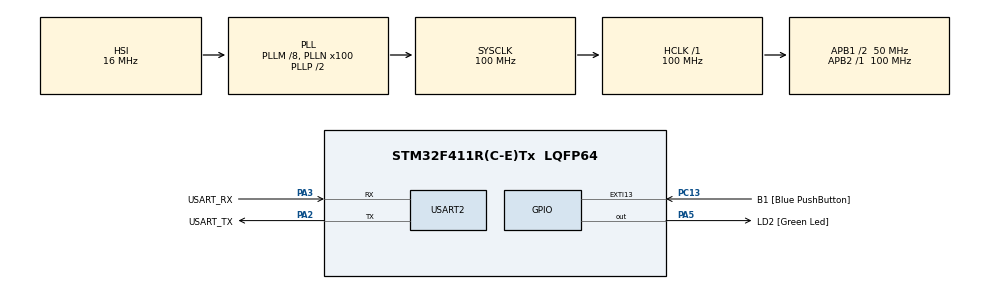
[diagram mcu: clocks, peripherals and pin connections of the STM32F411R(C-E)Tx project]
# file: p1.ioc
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Mcu.Family=STM32F4
Mcu.Name=STM32F411R(C-E)Tx
Mcu.Package=LQFP64
NVIC.EXTI15_10_IRQn=true\:0\:0\:false\:false\:true\:true\:true\:true
NVIC.PriorityGroup=NVIC_PRIORITYGROUP_0
PA13.GPIO_Label=TMS
PA13.Mode=Serial_Wire
PA13.Signal=SYS_JTMS-SWDIO
PA14.GPIO_Label=TCK
PA14.Mode=Serial_Wire
PA14.Signal=SYS_JTCK-SWCLK
PA2.GPIO_Label=USART_TX
PA2.Mode=Asynchronous
PA2.Signal=USART2_TX
PA3.GPIO_Label=USART_RX
PA3.Mode=Asynchronous
PA3.Signal=USART2_RX
PA5.GPIO_Label=LD2 [Green Led]
PA5.Signal=GPIO_Output
PB3.GPIO_Label=SWO
PB3.Signal=SYS_JTDO-SWO
PC13-ANTI_TAMP.GPIO_Label=B1 [Blue PushButton]
PC13-ANTI_TAMP.GPIO_ModeDefaultEXTI=GPIO_MODE_IT_FALLING
PC13-ANTI_TAMP.GPIO_PuPd=GPIO_PULLUP
PC13-ANTI_TAMP.Signal=GPXTI13
PC14-OSC32_IN.Mode=LSE-External-Oscillator
PC14-OSC32_IN.Signal=RCC_OSC32_IN
PC15-OSC32_OUT.Mode=LSE-External-Oscillator
PC15-OSC32_OUT.Signal=RCC_OSC32_OUT
PH0\ -\ OSC_IN.Mode=HSE-External-Clock-Source
PH0\ -\ OSC_IN.Signal=RCC_OSC_IN
PH1\ -\ OSC_OUT.Mode=HSE-External-Clock-Source
PH1\ -\ OSC_OUT.Signal=RCC_OSC_OUT
ProjectManager.HeapSize=0x200
ProjectManager.StackSize=0x400
ProjectManager.TargetToolchain=STM32CubeIDE
RCC.48MHZClocksFreq_Value=50000000
RCC.AHBFreq_Value=100000000
RCC.APB1CLKDivider=RCC_HCLK_DIV2
RCC.APB1Freq_Value=50000000
RCC.APB1TimFreq_Value=100000000
RCC.APB2Freq_Value=100000000
RCC.APB2TimFreq_Value=100000000
RCC.CortexFreq_Value=100000000
RCC.FLatency-AdvancedSettings=FLASH_LATENCY_3
RCC.HCLKFreq_Value=100000000
RCC.HSE_VALUE=8000000
RCC.HSI_VALUE=16000000
RCC.PLLM=8
RCC.PLLN=100
RCC.SYSCLKFreq_VALUE=100000000
RCC.SYSCLKSource=RCC_SYSCLKSOURCE_PLLCLK
RCC.VCOOutputFreq_Value=200000000
USART2.VirtualMode=VM_ASYNC
board=NUCLEO-F411RE

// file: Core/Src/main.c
/* USER CODE BEGIN Header */
/**
  ******************************************************************************
  * @file           : main.c
  * @brief          : Main program body
  ******************************************************************************
  * @attention
  *
  * Copyright (c) 2026 STMicroelectronics.
  * All rights reserved.
  *
  * This software is licensed under terms that can be found in the LICENSE file
  * in the root directory of this software component.
  * If no LICENSE file comes with this software, it is provided AS-IS.
  *
  ******************************************************************************
  */
/* USER CODE END Header */
#include "main.h"

UART_HandleTypeDef huart2;

/* USER CODE BEGIN PV */
char name[] = "Wiriyakeattipong";
uint16_t index = 0;
volatile uint16_t flag = 0;
/* USER CODE END PV */

void SystemClock_Config(void);
static void MX_GPIO_Init(void);
static void MX_USART2_UART_Init(void);

int main(void)
{

  /* MCU Configuration--------------------------------------------------------*/

  /* Reset of all peripherals, Initializes the Flash interface and the Systick. */
  HAL_Init();

  /* Configure the system clock */
  SystemClock_Config();

  /* Initialize all configured peripherals */
  MX_GPIO_Init();
  MX_USART2_UART_Init();

  /* Infinite loop */
  /* USER CODE BEGIN WHILE */
  while (1)
  {
	  HAL_GPIO_TogglePin(GPIOA, GPIO_PIN_5);
	  HAL_Delay(50);

	  if (flag) {
		  if (HAL_GPIO_ReadPin(GPIOC, GPIO_PIN_13) == GPIO_PIN_RESET) {
		  			  HAL_UART_Transmit(&huart2, (uint8_t*)&name[index++], 1, 10);

		  			  if (index == 9) {
		  				  index = 0;
		  			  }
		  flag = 0;
	  }
	  }
    /* USER CODE END WHILE */

  }
}

void SystemClock_Config(void)
{
  RCC_OscInitTypeDef RCC_OscInitStruct = {0};
  RCC_ClkInitTypeDef RCC_ClkInitStruct = {0};

  /** Configure the main internal regulator output voltage
  */
  __HAL_RCC_PWR_CLK_ENABLE();
  __HAL_PWR_VOLTAGESCALING_CONFIG(PWR_REGULATOR_VOLTAGE_SCALE1);

  /** Initializes the RCC Oscillators according to the specified parameters
  * in the RCC_OscInitTypeDef structure.
  */
  RCC_OscInitStruct.OscillatorType = RCC_OSCILLATORTYPE_HSI;
  RCC_OscInitStruct.HSIState = RCC_HSI_ON;
  RCC_OscInitStruct.HSICalibrationValue = RCC_HSICALIBRATION_DEFAULT;
  RCC_OscInitStruct.PLL.PLLState = RCC_PLL_ON;
  RCC_OscInitStruct.PLL.PLLSource = RCC_PLLSOURCE_HSI;
  RCC_OscInitStruct.PLL.PLLM = 8;
  RCC_OscInitStruct.PLL.PLLN = 100;
  RCC_OscInitStruct.PLL.PLLP = RCC_PLLP_DIV2;
  RCC_OscInitStruct.PLL.PLLQ = 4;
  if (HAL_RCC_OscConfig(&RCC_OscInitStruct) != HAL_OK)
  {
    Error_Handler();
  }

  /** Initializes the CPU, AHB and APB buses clocks
  */
  RCC_ClkInitStruct.ClockType = RCC_CLOCKTYPE_HCLK|RCC_CLOCKTYPE_SYSCLK
                              |RCC_CLOCKTYPE_PCLK1|RCC_CLOCKTYPE_PCLK2;
  RCC_ClkInitStruct.SYSCLKSource = RCC_SYSCLKSOURCE_PLLCLK;
  RCC_ClkInitStruct.AHBCLKDivider = RCC_SYSCLK_DIV1;
  RCC_ClkInitStruct.APB1CLKDivider = RCC_HCLK_DIV2;
  RCC_ClkInitStruct.APB2CLKDivider = RCC_HCLK_DIV1;

  if (HAL_RCC_ClockConfig(&RCC_ClkInitStruct, FLASH_LATENCY_3) != HAL_OK)
  {
    Error_Handler();
  }
}

static void MX_USART2_UART_Init(void)
{

  huart2.Instance = USART2;
  huart2.Init.BaudRate = 115200;
  huart2.Init.WordLength = UART_WORDLENGTH_8B;
  huart2.Init.StopBits = UART_STOPBITS_1;
  huart2.Init.Parity = UART_PARITY_NONE;
  huart2.Init.Mode = UART_MODE_TX_RX;
  huart2.Init.HwFlowCtl = UART_HWCONTROL_NONE;
  huart2.Init.OverSampling = UART_OVERSAMPLING_16;
  if (HAL_UART_Init(&huart2) != HAL_OK)
  {
    Error_Handler();
  }

}

static void MX_GPIO_Init(void)
{
  GPIO_InitTypeDef GPIO_InitStruct = {0};

  /* GPIO Ports Clock Enable */
  __HAL_RCC_GPIOC_CLK_ENABLE();
  __HAL_RCC_GPIOH_CLK_ENABLE();
  __HAL_RCC_GPIOA_CLK_ENABLE();
  __HAL_RCC_GPIOB_CLK_ENABLE();

  /*Configure GPIO pin Output Level */
  HAL_GPIO_WritePin(LD2_GPIO_Port, LD2_Pin, GPIO_PIN_RESET);

  /*Configure GPIO pin : B1_Pin */
  GPIO_InitStruct.Pin = B1_Pin;
  GPIO_InitStruct.Mode = GPIO_MODE_IT_FALLING;
  GPIO_InitStruct.Pull = GPIO_PULLUP;
  HAL_GPIO_Init(B1_GPIO_Port, &GPIO_InitStruct);

  /*Configure GPIO pin : LD2_Pin */
  GPIO_InitStruct.Pin = LD2_Pin;
  GPIO_InitStruct.Mode = GPIO_MODE_OUTPUT_PP;
  GPIO_InitStruct.Pull = GPIO_NOPULL;
  GPIO_InitStruct.Speed = GPIO_SPEED_FREQ_LOW;
  HAL_GPIO_Init(LD2_GPIO_Port, &GPIO_InitStruct);

  /* EXTI interrupt init*/
  HAL_NVIC_SetPriority(EXTI15_10_IRQn, 0, 0);
  HAL_NVIC_EnableIRQ(EXTI15_10_IRQn);

}

/* USER CODE BEGIN 4 */
void HAL_GPIO_EXTI_Callback(uint16_t PIN) {
	if (PIN != GPIO_PIN_13) return;
	static uint32_t last = 0;
	uint32_t now = HAL_GetTick();
	if (now - last > 50){
		flag = 1;
	}
	last = now;
}
/* USER CODE END 4 */

void Error_Handler(void)
{
  __disable_irq();
  while (1)
  {
  }
}
